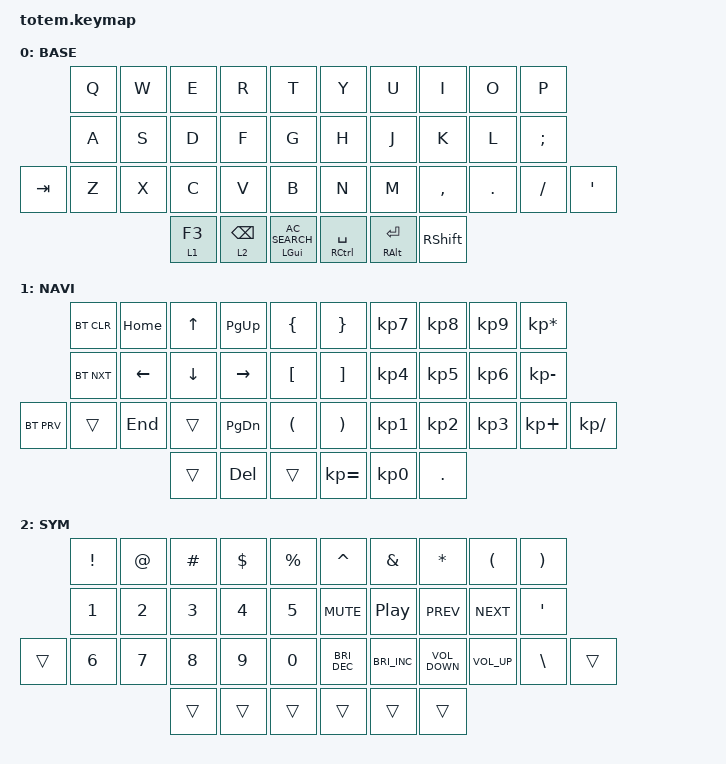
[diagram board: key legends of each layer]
//
//                                                        ▀▀▀▀▀     ▀▀▀▀▀          ▀▀█▀▀
//                                                        ▄▀▀▀▄  ▄  ▄▀▀▀▄  ▄  ▄▀▀▀▄  █  ▄▀▀▀▄
//                                                        █   █  █  █   █  █  █   █  █  █   █
//                                                         ▀▀▀   █   ▀▀▀   █   ▀▀▀   ▀   ▀▀▀
//                                                               █      ▄▄▄█▄▄▄    █   █  
//                                                               ▀      █  █  █     █▄█
//                                                             ▀▀▀▀▀    █  █  █      ▀
//                                                                      ▀  ▀  ▀
//
// ▄▄▄▄▄▄▄▄▄▄▄▄▄▄▄▄▄▄▄▄▄▄▄▄▄▄▄▄▄▄▄▄▄▄▄▄▄▄▄▄▄▄▄▄▄▄▄▄▄▄▄▄▄▄▄▄▄▄▄▄▄▄▄▄▄▄▄▄▄▄▄▄▄▄▄▄▄▄▄▄▄▄▄▄▄▄▄▄▄▄▄▄▄▄▄▄▄▄▄▄▄▄▄▄▄▄▄▄▄▄▄▄▄▄▄▄▄▄▄▄▄▄▄▄▄▄▄▄▄▄▄▄▄▄▄▄▄▄▄▄▄▄▄▄▄▄▄▄▄

#include <behaviors.dtsi>
#include <dt-bindings/zmk/bt.h>
#include <dt-bindings/zmk/keys.h>

#define BASE 0
#define NAV  1
#define SYM  2
#define ADJ  3
#define TVP1 4
#define TVP2 5

&mt {
    quick-tap-ms = <100>;
    global-quick-tap;
    flavor = "tap-preferred";
    tapping-term-ms = <170>;
};

/ {
    combos {
        compatible = "zmk,combos";

        combo_esc {
            timeout-ms = <50>;
            key-positions = <0 1>;
            bindings = <&kp ESC>;
        };

        combo_layer3 {
            bindings = <&mo 2>;
            key-positions = <37 36>;
        };
    };

    keymap {
        compatible = "zmk,keymap";

        // ▄▄▄▄▄▄▄▄▄▄▄▄▄▄▄▄▄▄▄▄▄▄▄▄▄▄▄▄▄▄▄▄▄▄▄▄▄▄▄▄▄▄▄▄▄▄▄▄▄▄▄▄▄▄▄▄▄▄▄▄▄▄▄▄▄▄▄▄▄▄▄▄▄▄▄▄▄▄▄▄▄▄▄▄▄▄▄▄▄▄▄▄▄▄▄▄▄▄▄▄▄▄▄▄▄▄▄▄▄▄▄▄▄▄▄▄▄▄▄▄▄▄▄▄▄▄▄▄▄▄▄▄▄▄▄▄▄▄▄▄▄▄▄▄▄▄▄▄▄

        base_layer {
            // ┏━━━━━━━━━━━━━━━━━━━━━━━━━━━━━━━━━━━━━━━┓

            label = "BASE";

            // ┗━━━━━━━━━━━━━━━━━━━━━━━━━━━━━━━━━━━━━━━┛
            //             ┏━━━━━━━━━━━┳━━━━━━━━━━━┳━━━━━━━━━━━┳━━━━━━━━━━━┳━━━━━━━━━━━┓   ┏━━━━━━━━━━━┳━━━━━━━━━━━┳━━━━━━━━━━━┳━━━━━━━━━━━┳━━━━━━━━━━━┓
            //             ┃     Q     ┃     W     ┃     F     ┃     P     ┃     G     ┃   ┃     J     ┃     L     ┃     U     ┃     Y     ┃     ;     ┃
            //             ┣━━━━━━━━━━━╋━━━━━━━━━━━╋━━━━━━━━━━━╋━━━━━━━━━━━╋━━━━━━━━━━━┫   ┣━━━━━━━━━━━╋━━━━━━━━━━━╋━━━━━━━━━━━╋━━━━━━━━━━━╋━━━━━━━━━━━┫
            //             ┃     A     ┃     R     ┃     S     ┃     T     ┃     D     ┃   ┃     H     ┃     N     ┃     E     ┃     I     ┃     O     ┃
            // ┏━━━━━━━━━━━╋━━━━━━━━━━━╋━━━━━━━━━━━╋━━━━━━━━━━━╋━━━━━━━━━━━╋━━━━━━━━━━━┫   ┣━━━━━━━━━━━╋━━━━━━━━━━━╋━━━━━━━━━━━╋━━━━━━━━━━━╋━━━━━━━━━━━╋━━━━━━━━━━━┓
            // ┃     Q     ┃     Z     ┃     X     ┃     C     ┃     V     ┃     B     ┃   ┃     K     ┃     M     ┃     ,     ┃     .     ┃     /     ┃     \     ┃
            // ┗━━━━━━━━━━━┻━━━━━━━━━━━┻━━━━━━━━━━━╋━━━━━━━━━━━╋━━━━━━━━━━━╋━━━━━━━━━━━┫   ┣━━━━━━━━━━━╋━━━━━━━━━━━╋━━━━━━━━━━━╋━━━━━━━━━━━┻━━━━━━━━━━━┻━━━━━━━━━━━┛
            //                                     ┃    DEL    ┃    TAB    ┃    SPC    ┃   ┃   ENTER   ┃           ┃   BSPC    ┃
            //                                     ┗━━━━━━━━━━━┻━━━━━━━━━━━┻━━━━━━━━━━━┛   ┗━━━━━━━━━━━┻━━━━━━━━━━━┻━━━━━━━━━━━┛

            bindings = <
         &kp Q  &kp W  &kp E     &kp R            &kp T                   &kp Y                    &kp U                &kp I            &kp O    &kp P
         &kp A  &kp S  &kp D     &kp F            &kp G                   &kp H                    &kp J                &kp K            &kp L    &kp SEMICOLON
&kp TAB  &kp Z  &kp X  &kp C     &kp V            &kp B                   &kp N                    &kp M                &kp COMMA        &kp DOT  &kp FSLH       &kp SQT
                       &lt 1 F3  &lt 2 BACKSPACE  &mt LGUI C_AC_SEARCH    &mt RIGHT_CONTROL SPACE  &mt RIGHT_ALT ENTER  &kp RIGHT_SHIFT
            >;
        };

        // ▄▄▄▄▄▄▄▄▄▄▄▄▄▄▄▄▄▄▄▄▄▄▄▄▄▄▄▄▄▄▄▄▄▄▄▄▄▄▄▄▄▄▄▄▄▄▄▄▄▄▄▄▄▄▄▄▄▄▄▄▄▄▄▄▄▄▄▄▄▄▄▄▄▄▄▄▄▄▄▄▄▄▄▄▄▄▄▄▄▄▄▄▄▄▄▄▄▄▄▄▄▄▄▄▄▄▄▄▄▄▄▄▄▄▄▄▄▄▄▄▄▄▄▄▄▄▄▄▄▄▄▄▄▄▄▄▄▄▄▄▄▄▄▄▄▄▄▄▄

        nav_layer {
            // ┏━━━━━━━━━━━━━━━━━━━━━━━━━━━━━━━━━━━━━━━┓

            label = "NAVI";

            // ┗━━━━━━━━━━━━━━━━━━━━━━━━━━━━━━━━━━━━━━━┛
            //             ┏━━━━━━━━━━━┳━━━━━━━━━━━┳━━━━━━━━━━━┳━━━━━━━━━━━┳━━━━━━━━━━━┓   ┏━━━━━━━━━━━┳━━━━━━━━━━━┳━━━━━━━━━━━┳━━━━━━━━━━━┳━━━━━━━━━━━┓
            //             ┃           ┃           ┃     UP    ┃           ┃     {     ┃   ┃     }     ┃     7     ┃     8     ┃     9     ┃     +     ┃
            //             ┣━━━━━━━━━━━╋━━━━━━━━━━━╋━━━━━━━━━━━╋━━━━━━━━━━━╋━━━━━━━━━━━┫   ┣━━━━━━━━━━━╋━━━━━━━━━━━╋━━━━━━━━━━━╋━━━━━━━━━━━╋━━━━━━━━━━━┫
            //             ┃   SHIFT   ┃   LEFT    ┃    DOWN   ┃   RIGHT   ┃     [     ┃   ┃     ]     ┃     4     ┃     5     ┃     6     ┃     -     ┃
            // ┏━━━━━━━━━━━╋━━━━━━━━━━━╋━━━━━━━━━━━╋━━━━━━━━━━━╋━━━━━━━━━━━╋━━━━━━━━━━━┫   ┣━━━━━━━━━━━╋━━━━━━━━━━━╋━━━━━━━━━━━╋━━━━━━━━━━━╋━━━━━━━━━━━╋━━━━━━━━━━━┓
            // ┃           ┃           ┃   P UP    ┃  C LOCK   ┃  P DOWN   ┃     (     ┃   ┃     )     ┃     1     ┃     2     ┃     3     ┃     *     ┃           ┃
            // ┗━━━━━━━━━━━┻━━━━━━━━━━━┻━━━━━━━━━━━╋━━━━━━━━━━━╋━━━━━━━━━━━╋━━━━━━━━━━━┫   ┣━━━━━━━━━━━╋━━━━━━━━━━━╋━━━━━━━━━━━╋━━━━━━━━━━━┻━━━━━━━━━━━┻━━━━━━━━━━━┛
            //                                     ┃           ┃    TAB    ┃    SPC    ┃   ┃    DEL    ┃     0     ┃           ┃
            //                                     ┗━━━━━━━━━━━┻━━━━━━━━━━━┻━━━━━━━━━━━┛   ┗━━━━━━━━━━━┻━━━━━━━━━━━┻━━━━━━━━━━━┛

            bindings = <
            &bt BT_CLR  &kp HOME  &kp UP    &kp PAGE_UP  &kp LBRC    &kp RBRC      &kp KP_N7  &kp KP_N8   &kp KP_N9  &kp KP_MULTIPLY
            &bt BT_NXT  &kp LEFT  &kp DOWN  &kp RIGHT    &kp LBKT    &kp RBKT      &kp KP_N4  &kp KP_N5   &kp KP_N6  &kp KP_MINUS
&bt BT_PRV  &trans      &kp END   &trans    &kp PG_DN    &kp LPAR    &kp RPAR      &kp KP_N1  &kp KP_N2   &kp KP_N3  &kp KP_PLUS      &kp KP_DIVIDE
                                  &trans    &kp DELETE   &trans      &kp KP_EQUAL  &kp KP_N0  &kp PERIOD
            >;
        };

        // ▄▄▄▄▄▄▄▄▄▄▄▄▄▄▄▄▄▄▄▄▄▄▄▄▄▄▄▄▄▄▄▄▄▄▄▄▄▄▄▄▄▄▄▄▄▄▄▄▄▄▄▄▄▄▄▄▄▄▄▄▄▄▄▄▄▄▄▄▄▄▄▄▄▄▄▄▄▄▄▄▄▄▄▄▄▄▄▄▄▄▄▄▄▄▄▄▄▄▄▄▄▄▄▄▄▄▄▄▄▄▄▄▄▄▄▄▄▄▄▄▄▄▄▄▄▄▄▄▄▄▄▄▄▄▄▄▄▄▄▄▄▄▄▄▄▄▄▄▄

        sim_layer {
            // ┏━━━━━━━━━━━━━━━━━━━━━━━━━━━━━━━━━━━━━━━┓

            label = "SYM";

            // ┗━━━━━━━━━━━━━━━━━━━━━━━━━━━━━━━━━━━━━━━┛
            //             ┏━━━━━━━━━━━┳━━━━━━━━━━━┳━━━━━━━━━━━┳━━━━━━━━━━━┳━━━━━━━━━━━┓   ┏━━━━━━━━━━━┳━━━━━━━━━━━┳━━━━━━━━━━━┳━━━━━━━━━━━┳━━━━━━━━━━━┓
            //             ┃     !     ┃     @     ┃     #     ┃     $     ┃     %     ┃   ┃     ˆ     ┃     &     ┃     Ü     ┃     '     ┃     "     ┃
            //             ┣━━━━━━━━━━━╋━━━━━━━━━━━╋━━━━━━━━━━━╋━━━━━━━━━━━╋━━━━━━━━━━━┫   ┣━━━━━━━━━━━╋━━━━━━━━━━━╋━━━━━━━━━━━╋━━━━━━━━━━━╋━━━━━━━━━━━┫
            //             ┃     Ä     ┃           ┃    SZ     ┃           ┃           ┃   ┃   MUTE    ┃   YEN     ┃   EURO    ┃  POUND    ┃     Ö     ┃
            // ┏━━━━━━━━━━━╋━━━━━━━━━━━╋━━━━━━━━━━━╋━━━━━━━━━━━╋━━━━━━━━━━━╋━━━━━━━━━━━┫   ┣━━━━━━━━━━━╋━━━━━━━━━━━╋━━━━━━━━━━━╋━━━━━━━━━━━╋━━━━━━━━━━━╋━━━━━━━━━━━┓
            // ┃           ┃  EMAIL1   ┃  EMAIL2   ┃           ┃           ┃           ┃   ┃   VOL-    ┃   VOL+    ┃   LAST    ┃   NEXT    ┃     \     ┃           ┃
            // ┗━━━━━━━━━━━┻━━━━━━━━━━━┻━━━━━━━━━━━╋━━━━━━━━━━━╋━━━━━━━━━━━╋━━━━━━━━━━━┫   ┣━━━━━━━━━━━╋━━━━━━━━━━━╋━━━━━━━━━━━╋━━━━━━━━━━━┻━━━━━━━━━━━┻━━━━━━━━━━━┛
            //                                     ┃           ┃    GIF    ┃    ADJ    ┃   ┃           ┃           ┃           ┃
            //                                     ┗━━━━━━━━━━━┻━━━━━━━━━━━┻━━━━━━━━━━━┛   ┗━━━━━━━━━━━┻━━━━━━━━━━━┻━━━━━━━━━━━┛

            bindings = <
        &kp EXCL  &kp AT  &kp HASH  &kp DLLR  &kp PRCNT    &kp CARET             &kp AMPS              &kp ASTRK          &kp LEFT_PARENTHESIS  &kp RIGHT_PARENTHESIS
        &kp N1    &kp N2  &kp N3    &kp N4    &kp N5       &kp C_MUTE            &kp C_PLAY_PAUSE      &kp C_PREV         &kp C_NEXT            &kp APOSTROPHE
&trans  &kp N6    &kp N7  &kp N8    &kp N9    &kp N0       &kp C_BRIGHTNESS_DEC  &kp C_BRIGHTNESS_INC  &kp C_VOLUME_DOWN  &kp C_VOLUME_UP       &kp BSLH               &trans
                          &trans    &trans    &trans       &trans                &trans                &trans
            >;
        };

        // ▄▄▄▄▄▄▄▄▄▄▄▄▄▄▄▄▄▄▄▄▄▄▄▄▄▄▄▄▄▄▄▄▄▄▄▄▄▄▄▄▄▄▄▄▄▄▄▄▄▄▄▄▄▄▄▄▄▄▄▄▄▄▄▄▄▄▄▄▄▄▄▄▄▄▄▄▄▄▄▄▄▄▄▄▄▄▄▄▄▄▄▄▄▄▄▄▄▄▄▄▄▄▄▄▄▄▄▄▄▄▄▄▄▄▄▄▄▄▄▄▄▄▄▄▄▄▄▄▄▄▄▄▄▄▄▄▄▄▄▄▄▄▄▄▄▄▄▄▄
        // ▄▄▄▄▄▄▄▄▄▄▄▄▄▄▄▄▄▄▄▄▄▄▄▄▄▄▄▄▄▄▄▄▄▄▄▄▄▄▄▄▄▄▄▄▄▄▄▄▄▄▄▄▄▄▄▄▄▄▄▄▄▄▄▄▄▄▄▄▄▄▄▄▄▄▄▄▄▄▄▄▄▄▄▄▄▄▄▄▄▄▄▄▄▄▄▄▄▄▄▄▄▄▄▄▄▄▄▄▄▄▄▄▄▄▄▄▄▄▄▄▄▄▄▄▄▄▄▄▄▄▄▄▄▄▄▄▄▄▄▄▄▄▄▄▄▄▄▄▄
        // ▄▄▄▄▄▄▄▄▄▄▄▄▄▄▄▄▄▄▄▄▄▄▄▄▄▄▄▄▄▄▄▄▄▄▄▄▄▄▄▄▄▄▄▄▄▄▄▄▄▄▄▄▄▄▄▄▄▄▄▄▄▄▄▄▄▄▄▄▄▄▄▄▄▄▄▄▄▄▄▄▄▄▄▄▄▄▄▄▄▄▄▄▄▄▄▄▄▄▄▄▄▄▄▄▄▄▄▄▄▄▄▄▄▄▄▄▄▄▄▄▄▄▄▄▄▄▄▄▄▄▄▄▄▄▄▄▄▄▄▄▄▄▄▄▄▄▄▄▄
    };
};
